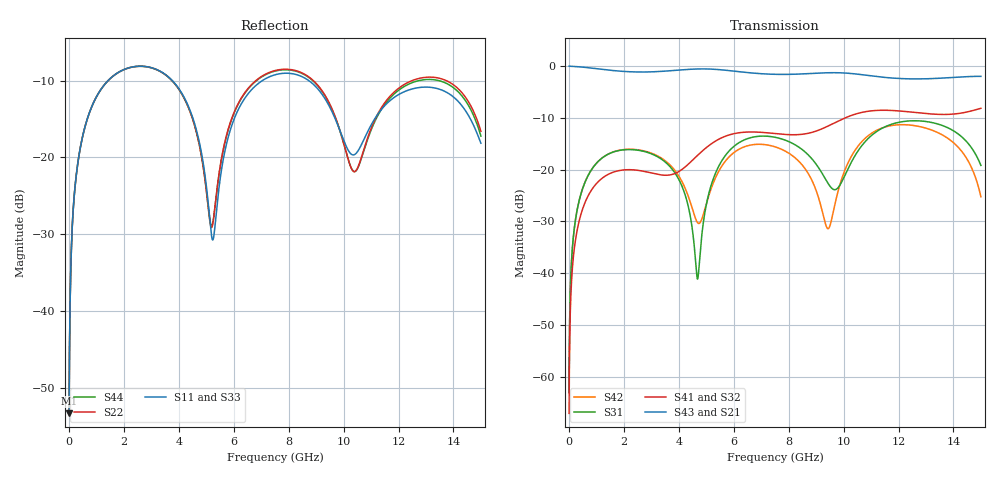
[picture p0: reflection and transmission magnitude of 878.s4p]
! Created with skrf 1.8.0 (http://scikit-rf.org).
# GHz S RI R 50.0
!freq ReS11 ImS11 ReS12 ImS12 ReS13 ImS13
! ReS14 ImS14
! ReS21 ImS21 ReS22 ImS22 ReS23 ImS23
! ReS24 ImS24
! ReS31 ImS31 ReS32 ImS32 ReS33 ImS33
! ReS34 ImS34
! ReS41 ImS41 ReS42 ImS42 ReS43 ImS43
! ReS44 ImS44
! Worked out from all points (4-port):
!   2499 points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, 5 MHz to 15 GHz, reference 50 ohm
!   strongest paths, dB at 5 MHz, 3.476 GHz, 7.19 GHz, 11.1 GHz, 15 GHz:
!     S43: 0.0, -1.0, -1.5, -1.9, -2.0
!     S21: 0.0, -1.0, -1.5, -1.9, -2.0
!     S41: -67.1, -21.1, -12.9, -8.6, -8.2
!     S32: -67.1, -21.2, -13.0, -8.7, -8.2
!     S31: -63.1, -18.4, -13.5, -13.1, -19.2
!     S42: -63.1, -18.2, -15.2, -12.7, -25.2
!   lowest |S11| = -53.3 dB at 5 MHz (marker M1), VSWR 1.00, Z = 50.2 + j0.131 ohm
!   |S11| at or under -10 dB: start of sweep to 1.421 GHz; 3.767 GHz to 7.036 GHz (3.27 GHz wide, 60.5 % of centre); 8.737 GHz to end of sweep
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0.005  0.00172 0.00131  0.9982 -0.00335  8.71e-05 0.000693  -8.45e-05 -0.000433
       0.9982 -0.00335  0.00172 0.00131  -8.45e-05 -0.000433  8.71e-05 0.000693
       8.71e-05 0.000693  -8.45e-05 -0.000433  0.00172 0.00131  0.9982 -0.00335
       -8.45e-05 -0.000433  8.71e-05 0.000693  0.9982 -0.00335  0.00172 0.00131
0.3126303  0.0261 0.0856  0.9643 -0.208  0.0122 0.0409  -0.0102 -0.0252
           0.9643 -0.208  0.0261 0.0856  -0.0101 -0.0252  0.0123 0.0409
           0.0122 0.0409  -0.0101 -0.0252  0.0261 0.0856  0.9643 -0.208
           -0.0102 -0.0252  0.0123 0.0409  0.9643 -0.208  0.0261 0.0856
1.569404  0.2885 0.1698  0.5079 -0.7523  0.1347 0.0573  -0.0935 0.000815
          0.5079 -0.7523  0.2882 0.17  -0.0933 0.000553  0.1361 0.055
          0.1347 0.0573  -0.0933 0.000553  0.2887 0.1697  0.5079 -0.7523
          -0.0935 0.000815  0.1361 0.055  0.5079 -0.7523  0.2881 0.1701
4.683201  0.0681 -0.1232  -0.8621 -0.3698  0.00863 0.00145  -0.0484 0.1284
          -0.8621 -0.3698  0.0704 -0.1162  -0.0514 0.1272  -0.0274 -0.0138
          0.00863 0.00145  -0.0514 0.1272  0.0678 -0.124  -0.8619 -0.37
          -0.0484 0.1284  -0.0274 -0.0138  -0.8619 -0.37  0.0713 -0.1164
8.047103  0.3525 -0.0151  -0.0132 0.8315  0.1419 -0.1175  0.2082 -0.0623
          -0.0132 0.8315  0.3715 -0.0438  0.208 -0.054  0.134 -0.0458
          0.1419 -0.1175  0.208 -0.054  0.3522 -0.0172  -0.0131 0.8322
          0.2082 -0.0623  0.134 -0.0458  -0.0131 0.8322  0.3686 -0.0426
10.74823  0.125 0.0421  0.8203 -0.0348  0.0507 0.1741  -0.0469 -0.3576
          0.8203 -0.0348  0.1044 0.0464  -0.0326 -0.3583  0.0479 0.1904
          0.0507 0.1741  -0.0326 -0.3583  0.1263 0.0459  0.8202 -0.0354
          -0.0469 -0.3576  0.0479 0.1904  0.8202 -0.0354  0.103 0.0444
15  0.1063 -0.0635  -0.6062 -0.5137  0.0105 -0.1093  -0.2202 0.3234
    -0.6062 -0.5137  0.0703 -0.1304  -0.2448 0.302  0.0332 -0.0434
    0.0105 -0.1093  -0.2448 0.302  0.0908 -0.0729  -0.6088 -0.5125
    -0.2202 0.3234  0.0332 -0.0434  -0.6088 -0.5125  0.0765 -0.1147
